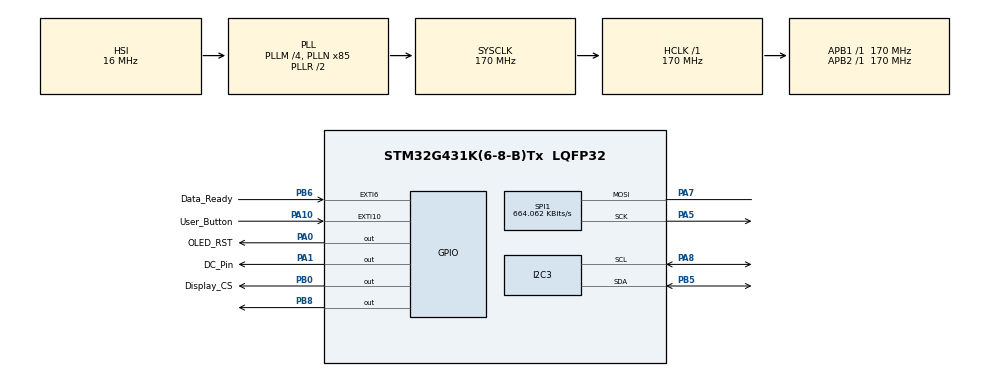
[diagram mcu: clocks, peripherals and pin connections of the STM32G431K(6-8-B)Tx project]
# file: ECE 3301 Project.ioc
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I2C3.Timing=0x40B285C2
IWDG.Prescaler=IWDG_PRESCALER_32
IWDG.Reload=249
IWDG.Window=249
Mcu.Family=STM32G4
Mcu.Name=STM32G431K(6-8-B)Tx
Mcu.Package=LQFP32
NUCLEO-G431KB.LD2=true
NUCLEO-G431KB.VCP=true
NVIC.EXTI15_10_IRQn=true\:0\:0\:false\:false\:true\:true\:true\:true
NVIC.EXTI9_5_IRQn=true\:0\:0\:false\:false\:true\:true\:true\:true
NVIC.PriorityGroup=NVIC_PRIORITYGROUP_4
NVIC.TIM2_IRQn=true\:0\:0\:false\:false\:true\:true\:true\:true
NVIC.TIM3_IRQn=true\:0\:0\:false\:false\:true\:true\:true\:true
PA0.GPIO_Label=OLED_RST
PA0.Signal=GPIO_Output
PA1.GPIO_Label=DC_Pin
PA1.Signal=GPIO_Output
PA10.GPIO_Label=User_Button
PA10.GPIO_PuPd=GPIO_PULLDOWN
PA10.Signal=GPXTI10
PA13.GPIO_Label=T_SWDIO
PA13.Mode=Trace_Asynchronous_SW
PA13.Signal=SYS_JTMS-SWDIO
PA14.GPIO_Label=T_SWCLK
PA14.Mode=Trace_Asynchronous_SW
PA14.Signal=SYS_JTCK-SWCLK
PA2.Signal=USART2_TX
PA3.Signal=USART2_RX
PA5.Mode=Simplex_Bidirectional_Master
PA5.Signal=SPI1_SCK
PA7.Mode=Simplex_Bidirectional_Master
PA7.Signal=SPI1_MOSI
PA8.Mode=I2C
PA8.Signal=I2C3_SCL
PB0.GPIO_Label=Display_CS
PB0.Signal=GPIO_Output
PB3.GPIO_Label=T_SWO
PB3.Mode=Trace_Asynchronous_SW
PB3.Signal=SYS_JTDO-SWO
PB5.Mode=I2C
PB5.Signal=I2C3_SDA
PB6.GPIO_Label=Data_Ready
PB6.Signal=GPXTI6
PB8-BOOT0.Signal=GPIO_Output
ProjectManager.HeapSize=0x200
ProjectManager.StackSize=0x400
ProjectManager.TargetToolchain=STM32CubeIDE
RCC.ADC12Freq_Value=170000000
RCC.AHBFreq_Value=170000000
RCC.APB1Freq_Value=170000000
RCC.APB1TimFreq_Value=170000000
RCC.APB2Freq_Value=170000000
RCC.APB2TimFreq_Value=170000000
RCC.CortexFreq_Value=170000000
RCC.EXTERNAL_CLOCK_VALUE=12288000
RCC.HCLKFreq_Value=170000000
RCC.HSE_VALUE=8000000
RCC.HSI48_VALUE=48000000
RCC.HSI_VALUE=16000000
RCC.LSE_VALUE=32768
RCC.PLLM=RCC_PLLM_DIV4
RCC.PLLN=85
RCC.SYSCLKFreq_VALUE=170000000
RCC.SYSCLKSource=RCC_SYSCLKSOURCE_PLLCLK
RCC.USBFreq_Value=170000000
RCC.VCOOutputFreq_Value=340000000
SPI1.BaudRatePrescaler=SPI_BAUDRATEPRESCALER_256
SPI1.CalculateBaudRate=664.062 KBits/s
SPI1.Direction=SPI_DIRECTION_1LINE
SPI1.Mode=SPI_MODE_MASTER
SPI1.VirtualType=VM_MASTER
TIM2.PeriodNoDither=169999
TIM2.Prescaler=0
TIM3.PeriodNoDither=16999
TIM3.Prescaler=0
VP_CORDIC_VS_CORDIC.Mode=CORDIC_Activate
VP_IWDG_VS_IWDG.Mode=IWDG_Activate
VP_NUCLEO-G431KB_VS_BSP_COMMON.Mode=COMMON
VP_SYS_VS_DBSignals.Mode=DisableDeadBatterySignals
VP_TIM2_VS_ClockSourceINT.Mode=Internal
VP_TIM3_VS_ClockSourceINT.Mode=Internal
board=NUCLEO-G431KB

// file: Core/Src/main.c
/* USER CODE BEGIN Header */
/**
 ******************************************************************************
 * @file           : main.c
 * @brief          : Main program body
 ******************************************************************************
 * @attention
 *
 * Copyright (c) 2026 STMicroelectronics.
 * All rights reserved.
 *
 * This software is licensed under terms that can be found in the LICENSE file
 * in the root directory of this software component.
 * If no LICENSE file comes with this software, it is provided AS-IS.
 *
 ******************************************************************************
 */
/* USER CODE END Header */
#include "main.h"

/* USER CODE BEGIN Includes */
#include "bno055.h"
#include "display.h"
#include <string.h>
#include <math.h>
/* USER CODE END Includes */

/* USER CODE BEGIN PD */
#define LEVEL_MODE 0
#define COMPASS_MODE 1

#define REFRESH_RATE 33 // 1/33ms ~ 30 FPS target

/* BEGIN TELEMETRY: remove this block and its use in the main loop to disable. */
#define TELEMETRY_PERIOD_MS 500U
/* END TELEMETRY */

#define CALIBRATION_HOLD_MS 5000U
#define CALIBRATION_TIMEOUT_MS 60000U
#define CALIBRATION_FLASH_ADDRESS 0x0801F800U
#define CALIBRATION_FLASH_MAGIC 0x43414C31U

#define SCREEN_WIDTH  240
#define SCREEN_HEIGHT 240

/* USER CODE END PD */

COM_InitTypeDef BspCOMInit;

CORDIC_HandleTypeDef hcordic;

I2C_HandleTypeDef hi2c3;

IWDG_HandleTypeDef hiwdg;

SPI_HandleTypeDef hspi1;

TIM_HandleTypeDef htim2;
TIM_HandleTypeDef htim3;

/* USER CODE BEGIN PV */
volatile uint8_t Display_State = LEVEL_MODE;
volatile uint8_t User_Button_Down = 0;
volatile uint8_t Calibration_Request = 0;
volatile uint8_t Calibration_Hold_Handled = 0;
volatile uint32_t User_Button_Tick = 0;

volatile uint32_t DisplayRefresh_tick = 0;

volatile uint16_t AccelVector[2] = { 0 };
volatile uint16_t gyroVector[2] = { 0 };
volatile uint16_t gravityVector[3] = { 0 }; //dunno if we need this

volatile uint16_t headingVector[2] = { 0 }; //compass vectors
volatile uint16_t levelVector[2] = { 0 };  //level vectors

volatile uint8_t Data_Ready = 0;

volatile float compassHeading = 0.0f;
volatile uint8_t compassDirection = 0;
volatile float tiltX = 0.0f;
volatile float tiltY = 0.0f;

const char *compassString;

uint8_t frame_buffer[SCREEN_WIDTH * SCREEN_HEIGHT / 2];

BNO055_Data orientation;

/* USER CODE END PV */

void SystemClock_Config(void);
static void MX_GPIO_Init(void);
static void MX_CORDIC_Init(void);
static void MX_TIM2_Init(void);
static void MX_TIM3_Init(void);
static void MX_IWDG_Init(void);
static void MX_I2C3_Init(void);
static void MX_SPI1_Init(void);
/* USER CODE BEGIN PFP */

static void read_level(); 			 //Terry
static void read_heading(); 		 //Terry
static void calculate_level(); 	 	 //Ryan
static void calculate_compass(); 	 //Brady
static void generate_levelframe(); 	 //Ethan
static void generate_headingframe(); //Ethan
static void update_display();  		 //Alexander
static uint32_t calibration_checksum(const uint8_t *profile);
static uint8_t load_calibration_profile(uint8_t *profile);
static HAL_StatusTypeDef save_calibration_profile(const uint8_t *profile);
static HAL_StatusTypeDef calibrate_and_save(void);

/* USER CODE END PFP */

/* USER CODE BEGIN 0 */
void HAL_GPIO_EXTI_Callback(uint16_t GPIO_Pin) {
	if (GPIO_Pin == User_Button_Pin) {
		if (HAL_GPIO_ReadPin(User_Button_GPIO_Port, User_Button_Pin) == GPIO_PIN_SET) {
			Display_State = !Display_State;
			User_Button_Down = 1;
			User_Button_Tick = HAL_GetTick();
		} else {
			User_Button_Down = 0;
			Calibration_Hold_Handled = 0;
		}
	} else if (GPIO_Pin == Data_Ready_Pin) {
		Data_Ready = 1;
	}
}

void HAL_TIM_PeriodElapsedCallback(TIM_HandleTypeDef *htim) {
	// 1 ms timer
	if (htim->Instance == TIM2) {
		DisplayRefresh_tick++;
		//fill as needed

	}

	// 100 us timer
	else if (htim->Instance == TIM3) {
		//fill as needed

	}
}

static void read_level() {
	if (BNO055_Read(&hi2c3, &orientation) == HAL_OK)
	    {
		        // Store roll angle
		        levelVector[0] =
		            (int16_t)(orientation.roll_deg * 100.0f);

		        // Store pitch angle
		        levelVector[1] =
		            (int16_t)(orientation.pitch_deg * 100.0f);
	    }
	//run the sensor in 9DOF fusion mode
	//pwetty pwease enable ACC_BSX_DRDY interrupt, and clear at end of data read

	//format vector info as Vector[]= {x,y,z};

}

static void read_heading() {
	if (BNO055_Read(&hi2c3, &orientation) == HAL_OK)
	    {
	        headingVector[0] =
	            (uint16_t)(orientation.heading_deg);
	    }
}

static void calculate_level() {

		tiltX = levelVector[0] / 100.0f;
	    tiltY = levelVector[1] / 100.0f;
}

static void calculate_compass() {

	uint16_t Heading = headingVector[0];  //read heading

	compassHeading = Heading;

	if (compassHeading >= 337.5f ||
	        compassHeading < 22.5f)
	    {
	        compassString = "North";  // North
	    }
	    else if (compassHeading < 67.5f)
	    {
	        compassString = "North-East";  // North-east
	    }
	    else if (compassHeading < 112.5f)
	    {
	        compassString = "East";  // East
	    }
	    else if (compassHeading < 157.5f)
	    {
	        compassString = "South-East";  // South-east
	    }
	    else if (compassHeading < 202.5f)
	    {
	        compassString = "South";  // South
	    }
	    else if (compassHeading < 247.5f)
	    {
	        compassString = "South-West";  // South-west
	    }
	    else if (compassHeading < 292.5f)
	    {
	        compassString = "West";  // West
	    }
	    else
	    {
	        compassString = "North-West";  // Northwest
	    }

}

static void generate_levelframe() {
	/* Use signed roll directly; levelVector currently stores unsigned values. */
	Display_DrawLevel(frame_buffer, -orientation.roll_deg);
}

static void generate_headingframe() {
    Display_DrawCompass(frame_buffer, orientation.heading_deg);
}

static void update_display() {
	if (Display_Update(frame_buffer) != HAL_OK) {
		Error_Handler();
	}
}

static uint32_t calibration_checksum(const uint8_t *profile)
{
    uint32_t checksum = CALIBRATION_FLASH_MAGIC;
    for (uint8_t i = 0; i < 22; i++)
        checksum = (checksum << 5) - checksum + profile[i];
    return checksum;
}

static uint8_t load_calibration_profile(uint8_t *profile)
{
    const uint8_t *stored = (const uint8_t *)CALIBRATION_FLASH_ADDRESS;
    uint32_t magic;
    uint32_t checksum;

    memcpy(&magic, stored, sizeof(magic));
    memcpy(profile, stored + 4, 22);
    memcpy(&checksum, stored + 28, sizeof(checksum));
    return magic == CALIBRATION_FLASH_MAGIC &&
           checksum == calibration_checksum(profile);
}

static HAL_StatusTypeDef save_calibration_profile(const uint8_t *profile)
{
    uint8_t record[32] = {0};
    uint32_t magic = CALIBRATION_FLASH_MAGIC;
    uint32_t checksum = calibration_checksum(profile);
    FLASH_EraseInitTypeDef erase = {0};
    uint32_t error = 0;

    memcpy(record, &magic, sizeof(magic));
    memcpy(record + 4, profile, 22);
    memcpy(record + 28, &checksum, sizeof(checksum));

    if (HAL_FLASH_Unlock() != HAL_OK) return HAL_ERROR;
    erase.TypeErase = FLASH_TYPEERASE_PAGES;
    erase.Banks = FLASH_BANK_1;
    erase.Page = FLASH_PAGE_NB - 1U;
    erase.NbPages = 1U;
    if (HAL_FLASHEx_Erase(&erase, &error) != HAL_OK) {
        HAL_FLASH_Lock();
        return HAL_ERROR;
    }
    for (uint32_t offset = 0; offset < sizeof(record); offset += 8U) {
        uint64_t word;
        memcpy(&word, record + offset, sizeof(word));
        if (HAL_FLASH_Program(FLASH_TYPEPROGRAM_DOUBLEWORD,
                              CALIBRATION_FLASH_ADDRESS + offset, word) != HAL_OK) {
            HAL_FLASH_Lock();
            return HAL_ERROR;
        }
    }
    HAL_FLASH_Lock();
    return HAL_OK;
}

static HAL_StatusTypeDef calibrate_and_save(void)
{
    uint8_t status = 0;
    uint8_t profile[22];
    uint32_t start = HAL_GetTick();
    uint32_t report = start;

    printf("Calibration started: hold sensor still, then move through six faces and a figure-eight.\r\n");
    while (status != 0xFFU && (HAL_GetTick() - start) < CALIBRATION_TIMEOUT_MS) {
        if (BNO055_GetCalibrationStatus(&hi2c3, &status) != HAL_OK)
            return HAL_ERROR;
        if ((HAL_GetTick() - report) >= 1000U) {
            report = HAL_GetTick();
            printf("Calibration status: 0x%02X\r\n", status);
        }
        HAL_Delay(100);
    }
    if (status != 0xFFU) return HAL_TIMEOUT;
    if (BNO055_ReadCalibrationProfile(&hi2c3, profile) != HAL_OK)
        return HAL_ERROR;
    return save_calibration_profile(profile);
}

/* USER CODE END 0 */

int main(void)
{

  /* MCU Configuration--------------------------------------------------------*/

  /* Reset of all peripherals, Initializes the Flash interface and the Systick. */
  HAL_Init();

  /* Configure the system clock */
  SystemClock_Config();

  /* Initialize all configured peripherals */
  MX_GPIO_Init();
  MX_CORDIC_Init();
  MX_TIM2_Init();
  MX_TIM3_Init();
  //MX_IWDG_Init();
  MX_I2C3_Init();
  MX_SPI1_Init();
  /* USER CODE BEGIN 2 */

  /* Initialize the TFT after GPIO and SPI2, then show an initial level frame. */
  if (Display_Init() != HAL_OK)
  {
    Error_Handler();
  }
  Display_DrawLevel(frame_buffer, NAN); /* No sensor reading available yet. */
  update_display();

  /* Initialize COM1 port (115200, 8 bits (7-bit data + 1 stop bit), no parity */
  BspCOMInit.BaudRate   = 115200;
  BspCOMInit.WordLength = COM_WORDLENGTH_8B;
  BspCOMInit.StopBits   = COM_STOPBITS_1;
  BspCOMInit.Parity     = COM_PARITY_NONE;
  BspCOMInit.HwFlowCtl  = COM_HWCONTROL_NONE;
  if (BSP_COM_Init(COM1, &BspCOMInit) != BSP_ERROR_NONE)
  {
    Error_Handler();
  }

  /* BEGIN TELEMETRY: remove this line with the other telemetry blocks. */
  printf("VCOM online\r\n");
  /* END TELEMETRY */

  /* BEGIN I2C TEST: remove this block after the sensor bus is verified. */
  uint8_t test_chip_id = 0;
  HAL_StatusTypeDef test_status = BNO055_I2C_Test(&hi2c3, &test_chip_id);
  printf("I2C test: %s, chip ID=0x%02X, error=0x%08lX\r\n",
         test_status == HAL_OK ? "OK" : "FAIL", test_chip_id,
         (unsigned long)HAL_I2C_GetError(&hi2c3));
  /* END I2C TEST */

  if (BNO055_Init(&hi2c3) != HAL_OK)
  {
      printf("BNO055 init failed, I2C error=0x%08lX\r\n",
             (unsigned long)HAL_I2C_GetError(&hi2c3));
      Error_Handler();
  }
  printf("BNO055 init OK\r\n");
  uint8_t saved_calibration[22];
  if (load_calibration_profile(saved_calibration)) {
      if (BNO055_ApplyCalibrationProfile(&hi2c3, saved_calibration) != HAL_OK)
          Error_Handler();
      printf("Saved BNO055 calibration restored\r\n");
  }

 // MX_IWDG_Init(); // Moved in front of BNOO055_Init to prevent watchdog reset

	HAL_TIM_Base_Start_IT(&htim2);
	HAL_TIM_Base_Start_IT(&htim3);

  /* USER CODE END 2 */

  /* Initialize leds */
  BSP_LED_Init(LED_GREEN);

  /* Initialize COM1 port (115200, 8 bits (7-bit data + 1 stop bit), no parity */
  BspCOMInit.BaudRate   = 115200;
  BspCOMInit.WordLength = COM_WORDLENGTH_8B;
  BspCOMInit.StopBits   = COM_STOPBITS_1;
  BspCOMInit.Parity     = COM_PARITY_NONE;
  BspCOMInit.HwFlowCtl  = COM_HWCONTROL_NONE;
  if (BSP_COM_Init(COM1, &BspCOMInit) != BSP_ERROR_NONE)
  {
    Error_Handler();
  }

  /* Infinite loop */
  /* USER CODE BEGIN WHILE */
	while (1) {
		/* BEGIN TELEMETRY: periodic angle output over the USB VCOM port. */
		static uint32_t telemetry_last_tick = 0;
		/* END TELEMETRY */

    /* USER CODE END WHILE */

    /* USER CODE BEGIN 3 */
		if (User_Button_Down && !Calibration_Hold_Handled &&
		    (HAL_GetTick() - User_Button_Tick) >= CALIBRATION_HOLD_MS) {
			Calibration_Hold_Handled = 1;
			Calibration_Request = 1;
		}
		if (!User_Button_Down) Calibration_Hold_Handled = 0;
		if (Calibration_Request) {
			Calibration_Request = 0;
			HAL_StatusTypeDef calibration_result = calibrate_and_save();
			printf("Calibration %s\r\n",
			       calibration_result == HAL_OK ? "saved" : "failed");
		}

		if (Data_Ready) {
			Data_Ready=0;
			if (Display_State == LEVEL_MODE) {
				read_level();
				calculate_level();
				if (DisplayRefresh_tick >= REFRESH_RATE) {
					generate_levelframe();
					update_display();
					DisplayRefresh_tick = 0;
				}
			} else if (Display_State == COMPASS_MODE) {
				read_heading();
				calculate_compass();
				if (DisplayRefresh_tick >= REFRESH_RATE) {
					generate_headingframe();
					update_display();
					DisplayRefresh_tick = 0;
				}
			} else {
				Display_State = LEVEL_MODE;
			}
			if (BNO055_ClearInterrupt(&hi2c3) != HAL_OK)
			{
			    Error_Handler();
			}
		}
		/* BEGIN TELEMETRY: remove this block to disable angle output. */
		if ((HAL_GetTick() - telemetry_last_tick) >= TELEMETRY_PERIOD_MS) {
			telemetry_last_tick = HAL_GetTick();
			/* Poll directly so telemetry also works without the INT connection. */
			if (BNO055_Read(&hi2c3, &orientation) != HAL_OK) {
				printf("ANGLE read failed, I2C error=0x%08lX\r\n",
				       (unsigned long)HAL_I2C_GetError(&hi2c3));
				continue;
			}
            /* BEGIN DISPLAY: refresh from the successful sensor read above.
             * This also supplies values when the sensor INT pin is inactive.
             * All SPI writes run in main().
             */
            if (Display_State == COMPASS_MODE) {
                generate_headingframe();
            } else {
                generate_levelframe();
            }
            update_display();
            /* END DISPLAY */
			int32_t heading_cdeg = (int32_t)lroundf(orientation.heading_deg * 100.0f);
			int32_t roll_cdeg = (int32_t)lroundf(orientation.roll_deg * 100.0f);
			int32_t pitch_cdeg = (int32_t)lroundf(orientation.pitch_deg * 100.0f);
			uint32_t heading_abs = (uint32_t)(heading_cdeg < 0 ? -heading_cdeg : heading_cdeg);
			uint32_t roll_abs = (uint32_t)(roll_cdeg < 0 ? -roll_cdeg : roll_cdeg);
			uint32_t pitch_abs = (uint32_t)(pitch_cdeg < 0 ? -pitch_cdeg : pitch_cdeg);

			printf("ANGLES H=%s%lu.%02lu R=%s%lu.%02lu P=%s%lu.%02lu deg\r\n",
			       heading_cdeg < 0 ? "-" : "", (unsigned long)(heading_abs / 100U), (unsigned long)(heading_abs % 100U),
			       roll_cdeg < 0 ? "-" : "", (unsigned long)(roll_abs / 100U), (unsigned long)(roll_abs % 100U),
			       pitch_cdeg < 0 ? "-" : "", (unsigned long)(pitch_abs / 100U), (unsigned long)(pitch_abs % 100U));
			telemetry_last_tick = HAL_GetTick();
		}
		/* END TELEMETRY */
		//HAL_IWDG_Refresh(&hiwdg); //needs to be kicked every 250ms
	}

  /* USER CODE END 3 */
}

void SystemClock_Config(void)
{
  RCC_OscInitTypeDef RCC_OscInitStruct = {0};
  RCC_ClkInitTypeDef RCC_ClkInitStruct = {0};

  /** Configure the main internal regulator output voltage
  */
  HAL_PWREx_ControlVoltageScaling(PWR_REGULATOR_VOLTAGE_SCALE1_BOOST);

  /** Initializes the RCC Oscillators according to the specified parameters
  * in the RCC_OscInitTypeDef structure.
  */
  RCC_OscInitStruct.OscillatorType = RCC_OSCILLATORTYPE_HSI|RCC_OSCILLATORTYPE_LSI;
  RCC_OscInitStruct.HSIState = RCC_HSI_ON;
  RCC_OscInitStruct.HSICalibrationValue = RCC_HSICALIBRATION_DEFAULT;
  RCC_OscInitStruct.LSIState = RCC_LSI_ON;
  RCC_OscInitStruct.PLL.PLLState = RCC_PLL_ON;
  RCC_OscInitStruct.PLL.PLLSource = RCC_PLLSOURCE_HSI;
  RCC_OscInitStruct.PLL.PLLM = RCC_PLLM_DIV4;
  RCC_OscInitStruct.PLL.PLLN = 85;
  RCC_OscInitStruct.PLL.PLLP = RCC_PLLP_DIV2;
  RCC_OscInitStruct.PLL.PLLQ = RCC_PLLQ_DIV2;
  RCC_OscInitStruct.PLL.PLLR = RCC_PLLR_DIV2;
  if (HAL_RCC_OscConfig(&RCC_OscInitStruct) != HAL_OK)
  {
    Error_Handler();
  }

  /** Initializes the CPU, AHB and APB buses clocks
  */
  RCC_ClkInitStruct.ClockType = RCC_CLOCKTYPE_HCLK|RCC_CLOCKTYPE_SYSCLK
                              |RCC_CLOCKTYPE_PCLK1|RCC_CLOCKTYPE_PCLK2;
  RCC_ClkInitStruct.SYSCLKSource = RCC_SYSCLKSOURCE_PLLCLK;
  RCC_ClkInitStruct.AHBCLKDivider = RCC_SYSCLK_DIV1;
  RCC_ClkInitStruct.APB1CLKDivider = RCC_HCLK_DIV1;
  RCC_ClkInitStruct.APB2CLKDivider = RCC_HCLK_DIV1;

  if (HAL_RCC_ClockConfig(&RCC_ClkInitStruct, FLASH_LATENCY_4) != HAL_OK)
  {
    Error_Handler();
  }
}

static void MX_CORDIC_Init(void)
{

  hcordic.Instance = CORDIC;
  if (HAL_CORDIC_Init(&hcordic) != HAL_OK)
  {
    Error_Handler();
  }

}

static void MX_I2C3_Init(void)
{

  hi2c3.Instance = I2C3;
  hi2c3.Init.Timing = 0x40B285C2;
  hi2c3.Init.OwnAddress1 = 0;
  hi2c3.Init.AddressingMode = I2C_ADDRESSINGMODE_7BIT;
  hi2c3.Init.DualAddressMode = I2C_DUALADDRESS_DISABLE;
  hi2c3.Init.OwnAddress2 = 0;
  hi2c3.Init.OwnAddress2Masks = I2C_OA2_NOMASK;
  hi2c3.Init.GeneralCallMode = I2C_GENERALCALL_DISABLE;
  hi2c3.Init.NoStretchMode = I2C_NOSTRETCH_DISABLE;
  if (HAL_I2C_Init(&hi2c3) != HAL_OK)
  {
    Error_Handler();
  }

  /** Configure Analogue filter
  */
  if (HAL_I2CEx_ConfigAnalogFilter(&hi2c3, I2C_ANALOGFILTER_ENABLE) != HAL_OK)
  {
    Error_Handler();
  }

  /** Configure Digital filter
  */
  if (HAL_I2CEx_ConfigDigitalFilter(&hi2c3, 0) != HAL_OK)
  {
    Error_Handler();
  }

}

static void MX_IWDG_Init(void)
{

  hiwdg.Instance = IWDG;
  hiwdg.Init.Prescaler = IWDG_PRESCALER_32;
  hiwdg.Init.Window = 249;
  hiwdg.Init.Reload = 249;
  if (HAL_IWDG_Init(&hiwdg) != HAL_OK)
  {
    Error_Handler();
  }

}

static void MX_SPI1_Init(void)
{

  /* SPI1 parameter configuration*/
  hspi1.Instance = SPI1;
  hspi1.Init.Mode = SPI_MODE_MASTER;
  hspi1.Init.Direction = SPI_DIRECTION_1LINE;
  hspi1.Init.DataSize = SPI_DATASIZE_4BIT;
  hspi1.Init.CLKPolarity = SPI_POLARITY_LOW;
  hspi1.Init.CLKPhase = SPI_PHASE_1EDGE;
  hspi1.Init.NSS = SPI_NSS_SOFT;
  hspi1.Init.BaudRatePrescaler = SPI_BAUDRATEPRESCALER_256;
  hspi1.Init.FirstBit = SPI_FIRSTBIT_MSB;
  hspi1.Init.TIMode = SPI_TIMODE_DISABLE;
  hspi1.Init.CRCCalculation = SPI_CRCCALCULATION_DISABLE;
  hspi1.Init.CRCPolynomial = 7;
  hspi1.Init.CRCLength = SPI_CRC_LENGTH_DATASIZE;
  hspi1.Init.NSSPMode = SPI_NSS_PULSE_ENABLE;
  if (HAL_SPI_Init(&hspi1) != HAL_OK)
  {
    Error_Handler();
  }

}

static void MX_TIM2_Init(void)
{

  TIM_ClockConfigTypeDef sClockSourceConfig = {0};
  TIM_MasterConfigTypeDef sMasterConfig = {0};

  htim2.Instance = TIM2;
  htim2.Init.Prescaler = 0;
  htim2.Init.CounterMode = TIM_COUNTERMODE_UP;
  htim2.Init.Period = 169999;
  htim2.Init.ClockDivision = TIM_CLOCKDIVISION_DIV1;
  htim2.Init.AutoReloadPreload = TIM_AUTORELOAD_PRELOAD_DISABLE;
  if (HAL_TIM_Base_Init(&htim2) != HAL_OK)
  {
    Error_Handler();
  }
  sClockSourceConfig.ClockSource = TIM_CLOCKSOURCE_INTERNAL;
  if (HAL_TIM_ConfigClockSource(&htim2, &sClockSourceConfig) != HAL_OK)
  {
    Error_Handler();
  }
  sMasterConfig.MasterOutputTrigger = TIM_TRGO_RESET;
  sMasterConfig.MasterSlaveMode = TIM_MASTERSLAVEMODE_DISABLE;
  if (HAL_TIMEx_MasterConfigSynchronization(&htim2, &sMasterConfig) != HAL_OK)
  {
    Error_Handler();
  }

}

static void MX_TIM3_Init(void)
{

  TIM_ClockConfigTypeDef sClockSourceConfig = {0};
  TIM_MasterConfigTypeDef sMasterConfig = {0};

  htim3.Instance = TIM3;
  htim3.Init.Prescaler = 0;
  htim3.Init.CounterMode = TIM_COUNTERMODE_UP;
  htim3.Init.Period = 16999;
  htim3.Init.ClockDivision = TIM_CLOCKDIVISION_DIV1;
  htim3.Init.AutoReloadPreload = TIM_AUTORELOAD_PRELOAD_DISABLE;
  if (HAL_TIM_Base_Init(&htim3) != HAL_OK)
  {
    Error_Handler();
  }
  sClockSourceConfig.ClockSource = TIM_CLOCKSOURCE_INTERNAL;
  if (HAL_TIM_ConfigClockSource(&htim3, &sClockSourceConfig) != HAL_OK)
  {
    Error_Handler();
  }
  sMasterConfig.MasterOutputTrigger = TIM_TRGO_RESET;
  sMasterConfig.MasterSlaveMode = TIM_MASTERSLAVEMODE_DISABLE;
  if (HAL_TIMEx_MasterConfigSynchronization(&htim3, &sMasterConfig) != HAL_OK)
  {
    Error_Handler();
  }

}

static void MX_GPIO_Init(void)
{
  GPIO_InitTypeDef GPIO_InitStruct = {0};

  /* GPIO Ports Clock Enable */
  __HAL_RCC_GPIOA_CLK_ENABLE();
  __HAL_RCC_GPIOB_CLK_ENABLE();

  /*Configure GPIO pin Output Level */
  HAL_GPIO_WritePin(GPIOA, OLED_RST_Pin|DC_Pin_Pin, GPIO_PIN_RESET);

  /*Configure GPIO pin Output Level */
  HAL_GPIO_WritePin(Display_CS_GPIO_Port, Display_CS_Pin, GPIO_PIN_RESET);

  /*Configure GPIO pins : OLED_RST_Pin DC_Pin_Pin */
  GPIO_InitStruct.Pin = OLED_RST_Pin|DC_Pin_Pin;
  GPIO_InitStruct.Mode = GPIO_MODE_OUTPUT_PP;
  GPIO_InitStruct.Pull = GPIO_NOPULL;
  GPIO_InitStruct.Speed = GPIO_SPEED_FREQ_LOW;
  HAL_GPIO_Init(GPIOA, &GPIO_InitStruct);

  /*Configure GPIO pin : Display_CS_Pin */
  GPIO_InitStruct.Pin = Display_CS_Pin;
  GPIO_InitStruct.Mode = GPIO_MODE_OUTPUT_PP;
  GPIO_InitStruct.Pull = GPIO_NOPULL;
  GPIO_InitStruct.Speed = GPIO_SPEED_FREQ_LOW;
  HAL_GPIO_Init(Display_CS_GPIO_Port, &GPIO_InitStruct);

  /*Configure GPIO pin : User_Button_Pin */
  GPIO_InitStruct.Pin = User_Button_Pin;
  GPIO_InitStruct.Mode = GPIO_MODE_IT_RISING_FALLING;
  GPIO_InitStruct.Pull = GPIO_PULLDOWN;
  HAL_GPIO_Init(User_Button_GPIO_Port, &GPIO_InitStruct);

  /*Configure GPIO pin : Data_Ready_Pin */
  GPIO_InitStruct.Pin = Data_Ready_Pin;
  GPIO_InitStruct.Mode = GPIO_MODE_IT_RISING;
  GPIO_InitStruct.Pull = GPIO_NOPULL;
  HAL_GPIO_Init(Data_Ready_GPIO_Port, &GPIO_InitStruct);

  /* EXTI interrupt init*/
  HAL_NVIC_SetPriority(EXTI9_5_IRQn, 0, 0);
  HAL_NVIC_EnableIRQ(EXTI9_5_IRQn);

  HAL_NVIC_SetPriority(EXTI15_10_IRQn, 0, 0);
  HAL_NVIC_EnableIRQ(EXTI15_10_IRQn);

}

/* USER CODE BEGIN Header */
/**
 ******************************************************************************
 * @file           : main.c
 * @brief          : Main program body
 ******************************************************************************
 * @attention
 *
 * Copyright (c) 2026 STMicroelectronics.
 * All rights reserved.
 *
 * This software is licensed under terms that can be found in the LICENSE file
 * in the root directory of this software component.
 * If no LICENSE file comes with this software, it is provided AS-IS.
 *
 ******************************************************************************
 */
/* USER CODE END Header */

void Error_Handler(void)
{
	__disable_irq();
	while (1) {
	}
}
